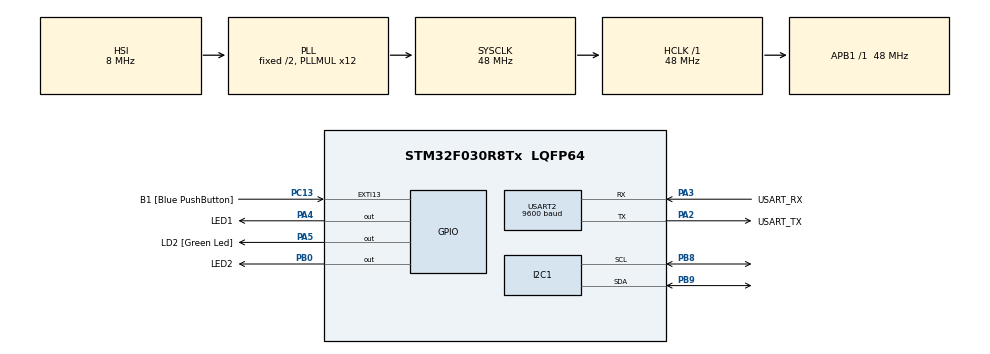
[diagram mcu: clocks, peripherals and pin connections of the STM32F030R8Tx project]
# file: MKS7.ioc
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FREERTOS.Queues01=xVisualQueue,16,int16_t,0,Dynamic,NULL,NULL
FREERTOS.Tasks01=defaultTask,0,128,StartDefaultTask,Default,NULL,Dynamic,NULL,NULL;VisualTask,0,128,StartVisualTask,Default,NULL,Dynamic,NULL,NULL;AcceleroTask,0,128,StartAcceleroTask,Default,NULL,Dynamic,NULL,NULL
FREERTOS.configUSE_NEWLIB_REENTRANT=1
I2C1.Timing=0x00201D2B
Mcu.Family=STM32F0
Mcu.Name=STM32F030R8Tx
Mcu.Package=LQFP64
NVIC.TIM14_IRQn=true\:3\:0\:false\:false\:true\:false\:false\:true\:true
NVIC.TimeBase=TIM14_IRQn
NVIC.TimeBaseIP=TIM14
PA13.GPIO_Label=TMS
PA13.Mode=Serial_Wire
PA13.Signal=SYS_SWDIO
PA14.GPIO_Label=TCK
PA14.Mode=Serial_Wire
PA14.Signal=SYS_SWCLK
PA2.GPIO_Label=USART_TX
PA2.GPIO_Mode=GPIO_MODE_AF_PP
PA2.GPIO_PuPd=GPIO_NOPULL
PA2.GPIO_Speed=GPIO_SPEED_FREQ_LOW
PA2.Mode=Asynchronous
PA2.Signal=USART2_TX
PA3.GPIO_Label=USART_RX
PA3.GPIO_Mode=GPIO_MODE_AF_PP
PA3.GPIO_PuPd=GPIO_NOPULL
PA3.GPIO_Speed=GPIO_SPEED_FREQ_LOW
PA3.Mode=Asynchronous
PA3.Signal=USART2_RX
PA4.GPIO_Label=LED1
PA4.Signal=GPIO_Output
PA5.GPIO_Label=LD2 [Green Led]
PA5.GPIO_Mode=GPIO_MODE_OUTPUT_PP
PA5.GPIO_PuPd=GPIO_NOPULL
PA5.GPIO_Speed=GPIO_SPEED_FREQ_LOW
PA5.Signal=GPIO_Output
PB0.GPIO_Label=LED2
PB0.Signal=GPIO_Output
PB8.Mode=I2C
PB8.Signal=I2C1_SCL
PB9.Mode=I2C
PB9.Signal=I2C1_SDA
PC13.GPIO_Label=B1 [Blue PushButton]
PC13.GPIO_ModeDefaultEXTI=GPIO_MODE_IT_FALLING
PC13.Signal=GPXTI13
PC14-OSC32_IN.Mode=LSE-External-Oscillator
PC14-OSC32_IN.Signal=RCC_OSC32_IN
PC15-OSC32_OUT.Mode=LSE-External-Oscillator
PC15-OSC32_OUT.Signal=RCC_OSC32_OUT
PF0-OSC_IN.Mode=HSE-External-Clock-Source
PF0-OSC_IN.Signal=RCC_OSC_IN
PF1-OSC_OUT.Signal=RCC_OSC_OUT
ProjectManager.HeapSize=0x200
ProjectManager.StackSize=0x400
ProjectManager.TargetToolchain=STM32CubeIDE
RCC.AHBFreq_Value=48000000
RCC.APB1Freq_Value=48000000
RCC.APB1TimFreq_Value=48000000
RCC.HCLKFreq_Value=48000000
RCC.PLLMUL=RCC_PLL_MUL12
RCC.SYSCLKFreq_VALUE=48000000
RCC.SYSCLKSource=RCC_SYSCLKSOURCE_PLLCLK
USART2.BaudRate=9600
USART2.VirtualMode-Asynchronous=VM_ASYNC
VP_FREERTOS_VS_CMSIS_V1.Mode=CMSIS_V1
VP_SYS_VS_tim14.Mode=TIM14
board=NUCLEO-F030R8

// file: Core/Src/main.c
/* USER CODE BEGIN Header */
/**
  ******************************************************************************
  * @file           : main.c
  * @brief          : Main program body
  ******************************************************************************
  * @attention
  *
  * Copyright (c) 2025 STMicroelectronics.
  * All rights reserved.
  *
  * This software is licensed under terms that can be found in the LICENSE file
  * in the root directory of this software component.
  * If no LICENSE file comes with this software, it is provided AS-IS.
  *
  ******************************************************************************
  */
/* USER CODE END Header */
#include "main.h"
#include "cmsis_os.h"

/* USER CODE BEGIN Includes */
#include "lis2dw12_reg.h"
/* USER CODE END Includes */

I2C_HandleTypeDef hi2c1;

UART_HandleTypeDef huart2;

osThreadId defaultTaskHandle;
osThreadId VisualTaskHandle;
osThreadId AcceleroTaskHandle;
osMessageQId xVisualQueueHandle;

void SystemClock_Config(void);
static void MX_GPIO_Init(void);
static void MX_USART2_UART_Init(void);
static void MX_I2C1_Init(void);
void StartDefaultTask(void const * argument);
void StartVisualTask(void const * argument);
void StartAcceleroTask(void const * argument);

/* USER CODE BEGIN 0 */

int _write(int file, char const *buf, int n)
{
 /* stdout redirection to UART2 */
 HAL_UART_Transmit(&huart2, (uint8_t*)(buf), n, HAL_MAX_DELAY);
 return n;
}

static int32_t platform_write(void *handle, uint8_t reg, uint8_t *bufp, uint16_t len);
  static int32_t platform_read(void *handle, uint8_t reg, uint8_t *bufp, uint16_t len);
  static stmdev_ctx_t lis2dw12 = {
	  .write_reg = platform_write,
	  .read_reg = platform_read,
	  .handle = &hi2c1,
  };

static int32_t platform_write(void *handle, uint8_t reg, uint8_t *bufp, uint16_t len)
	{
	HAL_I2C_Mem_Write(handle, LIS2DW12_I2C_ADD_H, reg, I2C_MEMADD_SIZE_8BIT, bufp, len, 1000);
	return 0;
	}
static int32_t platform_read(void *handle, uint8_t reg, uint8_t *bufp, uint16_t len)
	{
	HAL_I2C_Mem_Read(handle, LIS2DW12_I2C_ADD_H, reg, I2C_MEMADD_SIZE_8BIT, bufp, len, 1000);
	return 0;
	}

/* USER CODE END 0 */

int main(void)
{

  /* MCU Configuration--------------------------------------------------------*/

  /* Reset of all peripherals, Initializes the Flash interface and the Systick. */
  HAL_Init();

  /* Configure the system clock */
  SystemClock_Config();

  /* Initialize all configured peripherals */
  MX_GPIO_Init();
  MX_USART2_UART_Init();
  MX_I2C1_Init();

  /* Create the queue(s) */
  /* definition and creation of xVisualQueue */
  osMessageQDef(xVisualQueue, 16, int16_t);
  xVisualQueueHandle = osMessageCreate(osMessageQ(xVisualQueue), NULL);

  /* Create the thread(s) */
  /* definition and creation of defaultTask */
  osThreadDef(defaultTask, StartDefaultTask, osPriorityNormal, 0, 128);
  defaultTaskHandle = osThreadCreate(osThread(defaultTask), NULL);

  /* definition and creation of VisualTask */
  osThreadDef(VisualTask, StartVisualTask, osPriorityNormal, 0, 128);
  VisualTaskHandle = osThreadCreate(osThread(VisualTask), NULL);

  /* definition and creation of AcceleroTask */
  osThreadDef(AcceleroTask, StartAcceleroTask, osPriorityNormal, 0, 128);
  AcceleroTaskHandle = osThreadCreate(osThread(AcceleroTask), NULL);

  /* Start scheduler */
  osKernelStart();

  /* We should never get here as control is now taken by the scheduler */

  /* Infinite loop */
  while (1)
  {

  }
}

void SystemClock_Config(void)
{
  RCC_OscInitTypeDef RCC_OscInitStruct = {0};
  RCC_ClkInitTypeDef RCC_ClkInitStruct = {0};
  RCC_PeriphCLKInitTypeDef PeriphClkInit = {0};

  /** Initializes the RCC Oscillators according to the specified parameters
  * in the RCC_OscInitTypeDef structure.
  */
  RCC_OscInitStruct.OscillatorType = RCC_OSCILLATORTYPE_HSI;
  RCC_OscInitStruct.HSIState = RCC_HSI_ON;
  RCC_OscInitStruct.HSICalibrationValue = RCC_HSICALIBRATION_DEFAULT;
  RCC_OscInitStruct.PLL.PLLState = RCC_PLL_ON;
  RCC_OscInitStruct.PLL.PLLSource = RCC_PLLSOURCE_HSI;
  RCC_OscInitStruct.PLL.PLLMUL = RCC_PLL_MUL12;
  RCC_OscInitStruct.PLL.PREDIV = RCC_PREDIV_DIV1;
  if (HAL_RCC_OscConfig(&RCC_OscInitStruct) != HAL_OK)
  {
    Error_Handler();
  }

  /** Initializes the CPU, AHB and APB buses clocks
  */
  RCC_ClkInitStruct.ClockType = RCC_CLOCKTYPE_HCLK|RCC_CLOCKTYPE_SYSCLK
                              |RCC_CLOCKTYPE_PCLK1;
  RCC_ClkInitStruct.SYSCLKSource = RCC_SYSCLKSOURCE_PLLCLK;
  RCC_ClkInitStruct.AHBCLKDivider = RCC_SYSCLK_DIV1;
  RCC_ClkInitStruct.APB1CLKDivider = RCC_HCLK_DIV1;

  if (HAL_RCC_ClockConfig(&RCC_ClkInitStruct, FLASH_LATENCY_1) != HAL_OK)
  {
    Error_Handler();
  }
  PeriphClkInit.PeriphClockSelection = RCC_PERIPHCLK_I2C1;
  PeriphClkInit.I2c1ClockSelection = RCC_I2C1CLKSOURCE_HSI;
  if (HAL_RCCEx_PeriphCLKConfig(&PeriphClkInit) != HAL_OK)
  {
    Error_Handler();
  }
}

static void MX_I2C1_Init(void)
{

  hi2c1.Instance = I2C1;
  hi2c1.Init.Timing = 0x00201D2B;
  hi2c1.Init.OwnAddress1 = 0;
  hi2c1.Init.AddressingMode = I2C_ADDRESSINGMODE_7BIT;
  hi2c1.Init.DualAddressMode = I2C_DUALADDRESS_DISABLE;
  hi2c1.Init.OwnAddress2 = 0;
  hi2c1.Init.OwnAddress2Masks = I2C_OA2_NOMASK;
  hi2c1.Init.GeneralCallMode = I2C_GENERALCALL_DISABLE;
  hi2c1.Init.NoStretchMode = I2C_NOSTRETCH_DISABLE;
  if (HAL_I2C_Init(&hi2c1) != HAL_OK)
  {
    Error_Handler();
  }

  /** Configure Analogue filter
  */
  if (HAL_I2CEx_ConfigAnalogFilter(&hi2c1, I2C_ANALOGFILTER_ENABLE) != HAL_OK)
  {
    Error_Handler();
  }

  /** Configure Digital filter
  */
  if (HAL_I2CEx_ConfigDigitalFilter(&hi2c1, 0) != HAL_OK)
  {
    Error_Handler();
  }

}

static void MX_USART2_UART_Init(void)
{

  huart2.Instance = USART2;
  huart2.Init.BaudRate = 9600;
  huart2.Init.WordLength = UART_WORDLENGTH_8B;
  huart2.Init.StopBits = UART_STOPBITS_1;
  huart2.Init.Parity = UART_PARITY_NONE;
  huart2.Init.Mode = UART_MODE_TX_RX;
  huart2.Init.HwFlowCtl = UART_HWCONTROL_NONE;
  huart2.Init.OverSampling = UART_OVERSAMPLING_16;
  huart2.Init.OneBitSampling = UART_ONE_BIT_SAMPLE_DISABLE;
  huart2.AdvancedInit.AdvFeatureInit = UART_ADVFEATURE_NO_INIT;
  if (HAL_UART_Init(&huart2) != HAL_OK)
  {
    Error_Handler();
  }

}

static void MX_GPIO_Init(void)
{
  GPIO_InitTypeDef GPIO_InitStruct = {0};

  /* GPIO Ports Clock Enable */
  __HAL_RCC_GPIOC_CLK_ENABLE();
  __HAL_RCC_GPIOF_CLK_ENABLE();
  __HAL_RCC_GPIOA_CLK_ENABLE();
  __HAL_RCC_GPIOB_CLK_ENABLE();

  /*Configure GPIO pin Output Level */
  HAL_GPIO_WritePin(GPIOA, LED1_Pin|LD2_Pin, GPIO_PIN_RESET);

  /*Configure GPIO pin Output Level */
  HAL_GPIO_WritePin(LED2_GPIO_Port, LED2_Pin, GPIO_PIN_RESET);

  /*Configure GPIO pin : B1_Pin */
  GPIO_InitStruct.Pin = B1_Pin;
  GPIO_InitStruct.Mode = GPIO_MODE_IT_FALLING;
  GPIO_InitStruct.Pull = GPIO_NOPULL;
  HAL_GPIO_Init(B1_GPIO_Port, &GPIO_InitStruct);

  /*Configure GPIO pins : LED1_Pin LD2_Pin */
  GPIO_InitStruct.Pin = LED1_Pin|LD2_Pin;
  GPIO_InitStruct.Mode = GPIO_MODE_OUTPUT_PP;
  GPIO_InitStruct.Pull = GPIO_NOPULL;
  GPIO_InitStruct.Speed = GPIO_SPEED_FREQ_LOW;
  HAL_GPIO_Init(GPIOA, &GPIO_InitStruct);

  /*Configure GPIO pin : LED2_Pin */
  GPIO_InitStruct.Pin = LED2_Pin;
  GPIO_InitStruct.Mode = GPIO_MODE_OUTPUT_PP;
  GPIO_InitStruct.Pull = GPIO_NOPULL;
  GPIO_InitStruct.Speed = GPIO_SPEED_FREQ_LOW;
  HAL_GPIO_Init(LED2_GPIO_Port, &GPIO_InitStruct);

}

void StartDefaultTask(void const * argument)
{
  for(;;)
  {
    osDelay(1);
  }
}

void StartVisualTask(void const * argument)
{
  /* USER CODE BEGIN StartVisualTask */
  HAL_GPIO_WritePin(LED1_GPIO_Port, LED1_Pin, 0);
  HAL_GPIO_WritePin(LED2_GPIO_Port, LED2_Pin, 0);
  /* Infinite loop */
  for(;;)
  {
	int16_t msg;

	if (xQueueReceive(xVisualQueueHandle, &msg, portMAX_DELAY)) {
		if (msg < -1000){
			HAL_GPIO_WritePin(LED1_GPIO_Port, LED1_Pin, 1);
			HAL_GPIO_WritePin(LED2_GPIO_Port, LED2_Pin, 0);
		}
		else if (msg > 1000) {
			HAL_GPIO_WritePin(LED1_GPIO_Port, LED1_Pin, 0);
			HAL_GPIO_WritePin(LED2_GPIO_Port, LED2_Pin, 1);
		}
		else{
			HAL_GPIO_WritePin(LED1_GPIO_Port, LED1_Pin, 0);
			HAL_GPIO_WritePin(LED2_GPIO_Port, LED2_Pin, 0);
		}

	}
    osDelay(1);
  }
  /* USER CODE END StartVisualTask */
}

void StartAcceleroTask(void const * argument)
{
  /* USER CODE BEGIN StartAcceleroTask */
	lis2dw12_full_scale_set(&lis2dw12, LIS2DW12_2g);
	lis2dw12_power_mode_set(&lis2dw12, LIS2DW12_CONT_LOW_PWR_LOW_NOISE_2);
	lis2dw12_block_data_update_set(&lis2dw12, PROPERTY_ENABLE);
	// enable continuous FIFO
	lis2dw12_fifo_mode_set(&lis2dw12, LIS2DW12_STREAM_MODE);
	// enable part from power-down
	lis2dw12_data_rate_set(&lis2dw12, LIS2DW12_XL_ODR_25Hz);

	uint8_t samples;
	int16_t raw_acceleration[3];
	int16_t msg;
	int16_t prnt;

  /* Infinite loop */
  for(;;)
  {

	  vTaskDelay(50);
	  lis2dw12_fifo_data_level_get(&lis2dw12, &samples);
	  for (uint8_t i = 0; i < samples; i++) {
	  // Read acceleration data
	  lis2dw12_acceleration_raw_get(&lis2dw12, raw_acceleration);
	  }
	  if (prnt>20){
		  printf("X=%d Y=%d Z=%d\n", raw_acceleration[0], raw_acceleration[1], raw_acceleration[2]);
		  prnt=0;
	  }
	  else prnt++;
	  msg = raw_acceleration[0];
	  xQueueSend(xVisualQueueHandle, &msg, 0);
  }
  /* USER CODE END StartAcceleroTask */
}

void HAL_TIM_PeriodElapsedCallback(TIM_HandleTypeDef *htim)
{
  if (htim->Instance == TIM14)
  {
    HAL_IncTick();
  }
}

void Error_Handler(void)
{
  __disable_irq();
  while (1)
  {
  }
}
